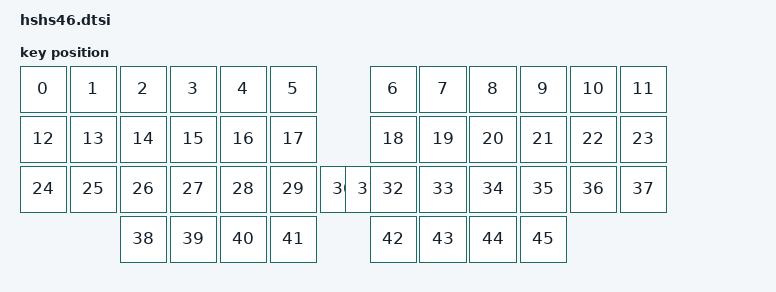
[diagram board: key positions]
/*
 * Copyright (c) 2021-2022 The ZMK Contributors
 * SPDX-License-Identifier: MIT
 */

#include <physical_layouts.dtsi>

/ {
    physical_layout0: physical_layout_0 {
        compatible = "zmk,physical-layout";
        display-name = "Default Layout";
        
        // 46 Keys Total to match default_transform
        keys  
            // --- TOP ROW (12 Keys) ---
            = <&key_physical_attrs 100 100   0   0   0   0   0>
            , <&key_physical_attrs 100 100 100   0   0   0   0>
            , <&key_physical_attrs 100 100 200   0   0   0   0>
            , <&key_physical_attrs 100 100 300   0   0   0   0>
            , <&key_physical_attrs 100 100 400   0   0   0   0>
            , <&key_physical_attrs 100 100 500   0   0   0   0>
            // Right Hand Split Gap
            , <&key_physical_attrs 100 100 700   0   0   0   0>
            , <&key_physical_attrs 100 100 800   0   0   0   0>
            , <&key_physical_attrs 100 100 900   0   0   0   0>
            , <&key_physical_attrs 100 100 1000  0   0   0   0>
            , <&key_physical_attrs 100 100 1100  0   0   0   0>
            , <&key_physical_attrs 100 100 1200  0   0   0   0>

            // --- MIDDLE ROW (12 Keys) ---
            , <&key_physical_attrs 100 100   0 100   0   0   0>
            , <&key_physical_attrs 100 100 100 100   0   0   0>
            , <&key_physical_attrs 100 100 200 100   0   0   0>
            , <&key_physical_attrs 100 100 300 100   0   0   0>
            , <&key_physical_attrs 100 100 400 100   0   0   0>
            , <&key_physical_attrs 100 100 500 100   0   0   0>
            // Right Hand Split Gap
            , <&key_physical_attrs 100 100 700 100   0   0   0>
            , <&key_physical_attrs 100 100 800 100   0   0   0>
            , <&key_physical_attrs 100 100 900 100   0   0   0>
            , <&key_physical_attrs 100 100 1000 100  0   0   0>
            , <&key_physical_attrs 100 100 1100 100  0   0   0>
            , <&key_physical_attrs 100 100 1200 100  0   0   0>

            // --- BOTTOM ROW (14 Keys) ---
            // Note: Your transform has 14 keys on this row. 
            // I added 2 extra in the "middle" (x=600 area) to account for RC(3,5) and RC(3,6)
            , <&key_physical_attrs 100 100   0 200   0   0   0>
            , <&key_physical_attrs 100 100 100 200   0   0   0>
            , <&key_physical_attrs 100 100 200 200   0   0   0>
            , <&key_physical_attrs 100 100 300 200   0   0   0>
            , <&key_physical_attrs 100 100 400 200   0   0   0>
            , <&key_physical_attrs 100 100 500 200   0   0   0>
            // Inner keys (RC 3,5 and 3,6)
            , <&key_physical_attrs 100 100 600 200   0   0   0> 
            , <&key_physical_attrs 100 100 650 200   0   0   0>
            // Right Hand
            , <&key_physical_attrs 100 100 700 200   0   0   0>
            , <&key_physical_attrs 100 100 800 200   0   0   0>
            , <&key_physical_attrs 100 100 900 200   0   0   0>
            , <&key_physical_attrs 100 100 1000 200  0   0   0>
            , <&key_physical_attrs 100 100 1100 200  0   0   0>
            , <&key_physical_attrs 100 100 1200 200  0   0   0>

            // --- THUMB ROW (8 Keys) ---
            , <&key_physical_attrs 100 100 200 300   0   0   0>
            , <&key_physical_attrs 100 100 300 300   0   0   0>
            , <&key_physical_attrs 100 100 400 300   0   0   0>
            , <&key_physical_attrs 100 100 500 300   0   0   0>
            // Right Hand Thumbs
            , <&key_physical_attrs 100 100 700 300   0   0   0>
            , <&key_physical_attrs 100 100 800 300   0   0   0>
            , <&key_physical_attrs 100 100 900 300   0   0   0>
            , <&key_physical_attrs 100 100 1000 300  0   0   0>
            ;
    };
};
